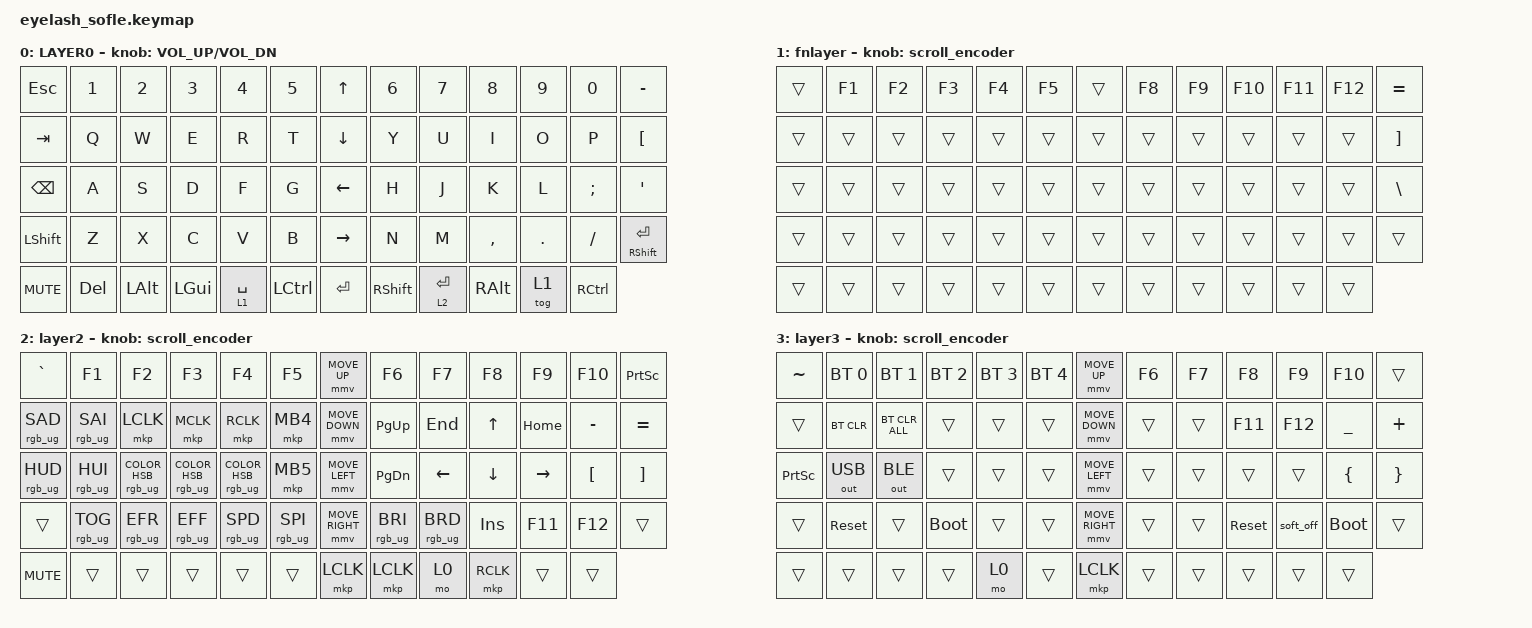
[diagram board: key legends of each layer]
#define ZMK_POINTING_DEFAULT_MOVE_VAL 1200  // 600
#define ZMK_POINTING_DEFAULT_SCRL_VAL 25   // 10

#include <input/processors.dtsi>
#include <zephyr/dt-bindings/input/input-event-codes.h>
#include <behaviors.dtsi>
#include <dt-bindings/zmk/bt.h>
#include <dt-bindings/zmk/keys.h>
#include <dt-bindings/zmk/outputs.h>
#include <dt-bindings/zmk/pointing.h>
#include <dt-bindings/zmk/rgb.h>

&mmv_input_listener { input-processors = <&zip_xy_scaler 2 1>; };

&msc_input_listener { input-processors = <&zip_scroll_scaler 2 1>; };

&msc {
    acceleration-exponent = <1>;      // 0
    time-to-max-speed-ms = <100>;       // 300
    delay-ms = <0>;                   // 0
};

&mmv {
    time-to-max-speed-ms = <500>;
    acceleration-exponent = <1>;
    trigger-period-ms = <16>;
};

&soft_off { hold-time-ms = <2000>; };

/ {
    scroll_encoder: scroll_encoder {
        compatible = "zmk,behavior-sensor-rotate";
        #sensor-binding-cells = <0>;
        bindings = <&msc SCRL_DOWN>, <&msc SCRL_UP>;

        tap-ms = <100>;
    };

    tap_hold_to_layer: tap_hold_to_layer {
        compatible = "zmk,behavior-hold-tap";
        label = "TAP_HOLD_TO_LAYER";
        bindings = <&mo>, <&kp>;

        #binding-cells = <2>;
        flavor = "balanced";
        tapping-term-ms = <180>;
    };

    tap_hold_kp: tap_hold_kp {
        compatible = "zmk,behavior-hold-tap";
        label = "TAP_HOLD_KP";
        bindings = <&kp>, <&kp>;

        #binding-cells = <2>;
        flavor = "balanced";
        tapping-term-ms = <180>;
    };

    behaviors {
    };

    combos {
        compatible = "zmk,combos";

        softoff {
            bindings = <&soft_off>;
            key-positions = <14 28 40>;
        };

        middleclick {
            bindings = <&mkp MCLK>;
            key-positions = <59 61>;
            layers = <2>;
        };
    };

    macros {
        SHIFT_MCLK: SHIFT_MCLK {
            compatible = "zmk,behavior-macro";
            #binding-cells = <0>;
            bindings =
                <&macro_press>,
                <&kp LEFT_SHIFT>,
                <&macro_press>,
                <&mkp MB3>,
                <&macro_pause_for_release>,
                <&macro_release>,
                <&kp LEFT_SHIFT &mkp MB3>;

            label = "SHIFT_MCLK";
        };

        tog_rgb: layer_rgb {
            compatible = "zmk,behavior-macro-two-param";
            #binding-cells = <2>;
            bindings =
                <&macro_press>,
                <&macro_param_1to1 &tog MACRO_PLACEHOLDER>,
                <&macro_press>,
                <&macro_param_2to2 &rgb_ug RGB_COLOR_HSB_CMD MACRO_PLACEHOLDER>,
                <&macro_pause_for_release>,
                <&macro_param_1to1>,
                <&macro_release>,
                <&mo MACRO_PLACEHOLDER &rgb_ug RGB_COLOR_HSB(0,100,50)>;

            label = "LAYER_RGB";
        };
    };

    keymap {
        compatible = "zmk,keymap";

        layer0 {
            bindings = <
&kp ESC        &kp N1   &kp N2        &kp N3        &kp N4                      &kp N5       &kp UP_ARROW     &kp N6           &kp N7                      &kp N8         &kp N9   &kp N0     &kp MINUS
&kp TAB        &kp Q    &kp W         &kp E         &kp R                       &kp T        &kp DOWN_ARROW   &kp Y            &kp U                       &kp I          &kp O    &kp P      &kp LEFT_BRACKET
&kp BACKSPACE  &kp A    &kp S         &kp D         &kp F                       &kp G        &kp LEFT_ARROW   &kp H            &kp J                       &kp K          &kp L    &kp SEMI   &kp APOS
&kp LSHFT      &kp Z    &kp X         &kp C         &kp V                       &kp B        &kp RIGHT_ARROW  &kp N            &kp M                       &kp COMMA      &kp DOT  &kp FSLH   &tap_hold_kp RIGHT_SHIFT ENTER
&kp C_MUTE     &kp DEL  &kp LEFT_ALT  &kp LEFT_GUI  &tap_hold_to_layer 1 SPACE  &kp LCTRL    &kp ENTER        &kp RIGHT_SHIFT  &tap_hold_to_layer 2 ENTER  &kp RIGHT_ALT  &tog 1   &kp RCTRL
            >;

            sensor-bindings = <&inc_dec_kp C_VOLUME_UP C_VOL_DN>;
            display-name = "LAYER0";
        };

        fn_layer {
            bindings = <
&trans  &kp F1  &kp F2  &kp F3  &kp F4  &kp F5    &trans  &kp F8  &kp F9  &kp F10  &kp F11  &kp F12  &kp EQUAL
&trans  &trans  &trans  &trans  &trans  &trans    &trans  &trans  &trans  &trans   &trans   &trans   &kp RIGHT_BRACKET
&trans  &trans  &trans  &trans  &trans  &trans    &trans  &trans  &trans  &trans   &trans   &trans   &kp BACKSLASH
&trans  &trans  &trans  &trans  &trans  &trans    &trans  &trans  &trans  &trans   &trans   &trans   &trans
&trans  &trans  &trans  &trans  &trans  &trans    &trans  &trans  &trans  &trans   &trans   &trans
            >;

            display-name = "fnlayer";
            sensor-bindings = <&scroll_encoder>;
        };

        led_arrows {
            bindings = <
&kp GRAVE        &kp F1           &kp F2                            &kp F3                           &kp F4                             &kp F5             &mmv MOVE_UP     &kp F6           &kp F7           &kp F8      &kp F9     &kp F10           &kp PRINTSCREEN
&rgb_ug RGB_SAD  &rgb_ug RGB_SAI  &mkp LCLK                         &mkp MCLK                        &mkp RCLK                          &mkp MB4           &mmv MOVE_DOWN   &kp PG_UP        &kp END          &kp UP      &kp HOME   &kp MINUS         &kp EQUAL
&rgb_ug RGB_HUD  &rgb_ug RGB_HUI  &rgb_ug RGB_COLOR_HSB(58,100,50)  &rgb_ug RGB_COLOR_HSB(0,100,85)  &rgb_ug RGB_COLOR_HSB(270,100,54)  &mkp MB5           &mmv MOVE_LEFT   &kp PG_DN        &kp LEFT         &kp DOWN    &kp RIGHT  &kp LEFT_BRACKET  &kp RIGHT_BRACKET
&trans           &rgb_ug RGB_TOG  &rgb_ug RGB_EFR                   &rgb_ug RGB_EFF                  &rgb_ug RGB_SPD                    &rgb_ug RGB_SPI    &mmv MOVE_RIGHT  &rgb_ug RGB_BRI  &rgb_ug RGB_BRD  &kp INSERT  &kp F11    &kp F12           &trans
&kp C_MUTE       &trans           &trans                            &trans                           &trans                             &trans             &mkp LCLK        &mkp LCLK        &mo 0            &mkp RCLK   &trans     &trans
            >;

            display-name = "layer2";
            sensor-bindings = <&scroll_encoder>;
        };

        layer_2 {
            bindings = <
&kp TILDE        &bt BT_SEL 0  &bt BT_SEL 1    &bt BT_SEL 2  &bt BT_SEL 3  &bt BT_SEL 4    &mmv MOVE_UP     &kp F6  &kp F7  &kp F8      &kp F9     &kp F10      &trans
&trans           &bt BT_CLR    &bt BT_CLR_ALL  &trans        &trans        &trans          &mmv MOVE_DOWN   &trans  &trans  &kp F11     &kp F12    &kp UNDER    &kp PLUS
&kp PRINTSCREEN  &out OUT_USB  &out OUT_BLE    &trans        &trans        &trans          &mmv MOVE_LEFT   &trans  &trans  &trans      &trans     &kp LBRC     &kp RBRC
&trans           &sys_reset    &trans          &bootloader   &trans        &trans          &mmv MOVE_RIGHT  &trans  &trans  &sys_reset  &soft_off  &bootloader  &trans
&trans           &trans        &trans          &trans        &mo 0         &trans          &mkp LCLK        &trans  &trans  &trans      &trans     &trans
            >;

            display-name = "layer3";
            sensor-bindings = <&scroll_encoder>;
        };
    };
};
